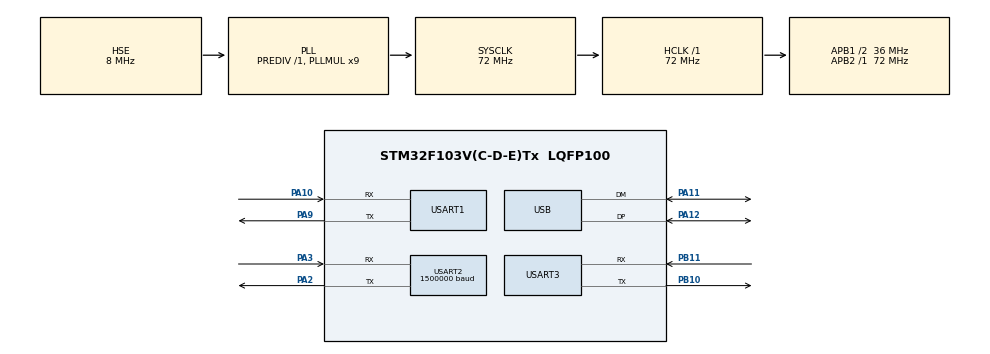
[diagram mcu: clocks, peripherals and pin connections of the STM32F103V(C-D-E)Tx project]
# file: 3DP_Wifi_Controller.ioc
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Dma.Request0=USART1_TX
Dma.Request1=USART1_RX
Dma.Request2=USART2_RX
Dma.USART1_RX.1.Direction=DMA_PERIPH_TO_MEMORY
Dma.USART1_RX.1.Instance=DMA1_Channel5
Dma.USART1_RX.1.MemDataAlignment=DMA_MDATAALIGN_BYTE
Dma.USART1_RX.1.MemInc=DMA_MINC_ENABLE
Dma.USART1_RX.1.Mode=DMA_NORMAL
Dma.USART1_RX.1.PeriphDataAlignment=DMA_PDATAALIGN_BYTE
Dma.USART1_RX.1.PeriphInc=DMA_PINC_DISABLE
Dma.USART1_RX.1.Priority=DMA_PRIORITY_HIGH
Dma.USART1_TX.0.Direction=DMA_MEMORY_TO_PERIPH
Dma.USART1_TX.0.Instance=DMA1_Channel4
Dma.USART1_TX.0.MemDataAlignment=DMA_MDATAALIGN_BYTE
Dma.USART1_TX.0.MemInc=DMA_MINC_ENABLE
Dma.USART1_TX.0.Mode=DMA_NORMAL
Dma.USART1_TX.0.PeriphDataAlignment=DMA_PDATAALIGN_BYTE
Dma.USART1_TX.0.PeriphInc=DMA_PINC_DISABLE
Dma.USART1_TX.0.Priority=DMA_PRIORITY_MEDIUM
Dma.USART2_RX.2.Direction=DMA_PERIPH_TO_MEMORY
Dma.USART2_RX.2.Instance=DMA1_Channel6
Dma.USART2_RX.2.MemDataAlignment=DMA_MDATAALIGN_BYTE
Dma.USART2_RX.2.MemInc=DMA_MINC_ENABLE
Dma.USART2_RX.2.Mode=DMA_NORMAL
Dma.USART2_RX.2.PeriphDataAlignment=DMA_PDATAALIGN_BYTE
Dma.USART2_RX.2.PeriphInc=DMA_PINC_DISABLE
Dma.USART2_RX.2.Priority=DMA_PRIORITY_HIGH
FREERTOS.Tasks01=defaultTask,24,128,StartDefaultTask,Default,NULL,Dynamic,NULL,NULL
FREERTOS.configENABLE_FPU=1
Mcu.Family=STM32F1
Mcu.Name=STM32F103V(C-D-E)Tx
Mcu.Package=LQFP100
NVIC.DMA1_Channel4_IRQn=true\:5\:0\:false\:false\:true\:true\:false\:true\:true
NVIC.DMA1_Channel5_IRQn=true\:5\:0\:false\:false\:true\:true\:false\:true\:true
NVIC.DMA1_Channel6_IRQn=true\:5\:0\:false\:false\:true\:true\:false\:true\:true
NVIC.PriorityGroup=NVIC_PRIORITYGROUP_4
NVIC.USART1_IRQn=true\:5\:0\:false\:false\:true\:true\:false\:true\:true
NVIC.USART2_IRQn=true\:5\:0\:false\:false\:true\:true\:true\:true\:true
OSC_IN.Mode=HSE-External-Oscillator
OSC_IN.Signal=RCC_OSC_IN
OSC_OUT.Mode=HSE-External-Oscillator
OSC_OUT.Signal=RCC_OSC_OUT
PA10.Mode=Asynchronous
PA10.Signal=USART1_RX
PA11.Mode=Device
PA11.Signal=USB_DM
PA12.Mode=Device
PA12.Signal=USB_DP
PA13.Mode=Serial_Wire
PA13.Signal=SYS_JTMS-SWDIO
PA14.Mode=Serial_Wire
PA14.Signal=SYS_JTCK-SWCLK
PA2.Mode=Asynchronous
PA2.Signal=USART2_TX
PA3.Mode=Asynchronous
PA3.Signal=USART2_RX
PA9.Mode=Asynchronous
PA9.Signal=USART1_TX
PB10.Mode=Asynchronous
PB10.Signal=USART3_TX
PB11.Mode=Asynchronous
PB11.Signal=USART3_RX
ProjectManager.HeapSize=0x200
ProjectManager.StackSize=0x400
ProjectManager.TargetToolchain=CMake
RCC.AHBFreq_Value=72000000
RCC.APB1CLKDivider=RCC_HCLK_DIV2
RCC.APB1Freq_Value=36000000
RCC.APB1TimFreq_Value=72000000
RCC.APB2Freq_Value=72000000
RCC.APB2TimFreq_Value=72000000
RCC.HCLKFreq_Value=72000000
RCC.PLLMUL=RCC_PLL_MUL9
RCC.PLLSourceVirtual=RCC_PLLSOURCE_HSE
RCC.SYSCLKFreq_VALUE=72000000
RCC.SYSCLKSource=RCC_SYSCLKSOURCE_PLLCLK
RCC.USBFreq_Value=48000000
RCC.USBPrescaler=RCC_USBCLKSOURCE_PLL_DIV1_5
USART1.VirtualMode=VM_ASYNC
USART2.BaudRate=1500000
USART2.VirtualMode=VM_ASYNC
USART3.VirtualMode=VM_ASYNC
VP_FREERTOS_VS_CMSIS_V2.Mode=CMSIS_V2
board=custom

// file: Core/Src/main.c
/* USER CODE BEGIN Header */
/**
 ******************************************************************************
 * @file           : main.c
 * @brief          : Main program body
 ******************************************************************************
 * @attention
 *
 * Copyright (c) 2025 STMicroelectronics.
 * All rights reserved.
 *
 * This software is licensed under terms that can be found in the LICENSE file
 * in the root directory of this software component.
 * If no LICENSE file comes with this software, it is provided AS-IS.
 *
 ******************************************************************************
 */
/* USER CODE END Header */

/*******   HAL LIB   *******/
#include "main.h"
#include "cmsis_os.h"
#include "dma.h"
#include "usart.h"
#include "usb.h"
#include "gpio.h"
#include "stm32f1xx_ll_fsmc.h"

/*******   C LIB   *******/
#include <stdio.h>
#include <string.h>

/*******   Fire Bsp LIB   *******/
#include "bsp_led.h"
#include "bsp_sdio_sdcard.h"

/*******   SDIO LIB   *******/
#include "ff.h"
#include "ff_gen_drv.h"
#include "sd_diskio.h"
#include "sdio_test.h"

/*******   Custumize LIB   *******/
#include "bsp_ili9341_lcd.h"
#include "bsp_xpt2046_lcd.h"
#include "cmdHandler.h"
#include "Fatfs_SDIO_Test.h"
#include "GUI.h"
#include "LCD.h"
#include "Touch_Calibration.h"

void LCD_TestInit(void) {

	// 简单测试LCD是否正常工作
	ILI9341_Write_Cmd(0x2C);  // 写入GRAM命令
	for(int i=0; i<100; i++) {  // 只写部分像素测试
		ILI9341_Write_Data(0xF800);  // 红色像素
	}

}

void SystemClock_Config(void);

void MX_FREERTOS_Init(void);

/**
  * @brief  主程式進入點
  * @retval int
  */
int main(void) {

	/*------------BSP HAL INIT------------*/
	HAL_Init();
	SystemClock_Config();
	MX_GPIO_Init();
	MX_DMA_Init();
	MX_USART1_UART_Init();
	MX_USART2_UART_Init();
	MX_USART3_UART_Init();
	MX_USB_PCD_Init();
	__HAL_RCC_CRC_CLK_ENABLE();

	/*------------CUSTOMIZE FUNC INIT------------*/
	LED_GPIO_Config();
	XPT2046_Init();
	// ESP32_Init();
	SDIO_FatFs_RW_Test();
	GUI_Init();
	// TOUCH_First_Calibrate();

	osKernelInitialize();
	MX_FREERTOS_Init();
	osKernelStart();

	while (1) {
	}
}

/**
  * @brief 系統時鐘設定
  * @retval 無
  */
void SystemClock_Config(void) {
	RCC_OscInitTypeDef RCC_OscInitStruct = {0};
	RCC_ClkInitTypeDef RCC_ClkInitStruct = {0};
	RCC_PeriphCLKInitTypeDef PeriphClkInit = {0};

	RCC_OscInitStruct.OscillatorType = RCC_OSCILLATORTYPE_HSE;
	RCC_OscInitStruct.HSEState = RCC_HSE_ON;
	RCC_OscInitStruct.HSEPredivValue = RCC_HSE_PREDIV_DIV1;
	RCC_OscInitStruct.HSIState = RCC_HSI_ON;
	RCC_OscInitStruct.PLL.PLLState = RCC_PLL_ON;
	RCC_OscInitStruct.PLL.PLLSource = RCC_PLLSOURCE_HSE;
	RCC_OscInitStruct.PLL.PLLMUL = RCC_PLL_MUL9;
	if (HAL_RCC_OscConfig(&RCC_OscInitStruct) != HAL_OK) {
		Error_Handler();
	}

	RCC_ClkInitStruct.ClockType = RCC_CLOCKTYPE_HCLK | RCC_CLOCKTYPE_SYSCLK
	                              | RCC_CLOCKTYPE_PCLK1 | RCC_CLOCKTYPE_PCLK2;
	RCC_ClkInitStruct.SYSCLKSource = RCC_SYSCLKSOURCE_PLLCLK;
	RCC_ClkInitStruct.AHBCLKDivider = RCC_SYSCLK_DIV1;
	RCC_ClkInitStruct.APB1CLKDivider = RCC_HCLK_DIV2;
	RCC_ClkInitStruct.APB2CLKDivider = RCC_HCLK_DIV1;

	if (HAL_RCC_ClockConfig(&RCC_ClkInitStruct, FLASH_LATENCY_2) != HAL_OK) {
		Error_Handler();
	}

	PeriphClkInit.PeriphClockSelection = RCC_PERIPHCLK_USB;
	PeriphClkInit.UsbClockSelection = RCC_USBCLKSOURCE_PLL_DIV1_5;
	if (HAL_RCCEx_PeriphCLKConfig(&PeriphClkInit) != HAL_OK) {
		Error_Handler();
	}
}

/**
  * @brief 錯誤處理函式
  * @retval 無
  */
void Error_Handler(void) {
	__disable_irq();
	printf("fault\r\n<UNK>\r\n");
	while (1) {
	}
}

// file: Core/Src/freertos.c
/* USER CODE BEGIN Header */
/**
  ******************************************************************************
  * File Name          : freertos.c
  * Description        : Code for freertos applications
  ******************************************************************************
  * @attention
  *
  * Copyright (c) 2025 STMicroelectronics.
  * All rights reserved.
  *
  * This software is licensed under terms that can be found in the LICENSE file
  * in the root directory of this software component.
  * If no LICENSE file comes with this software, it is provided AS-IS.
  *
  ******************************************************************************
  */
/* USER CODE END Header */

#include "FreeRTOS.h"
#include "task.h"
#include "main.h"
#include "cmsis_os.h"

/* USER CODE BEGIN Includes */
#include "ledTask.h"
#include "esp32.h"
#include "UITask.h"
/* USER CODE END Includes */

/* USER CODE BEGIN Variables */

//UI主線程
osThreadId_t UITaskHandle;
const osThreadAttr_t UI_Task_attributes = {
	.name = "UI_Task",
	.stack_size = 128* 16,
	.priority = (osPriority)osPriorityNormal7,
};

//觸控檢測線程
osThreadId_t TouchTaskHandle;
const osThreadAttr_t Touch_Task_attributes = {
	.name = "Touch_Task",
	.stack_size = 128* 8,
	.priority = (osPriority)osPriorityNormal7,
};

//esp32 uart解析線程
osThreadId_t esp32RxHandlerTaskHandle;
const osThreadAttr_t esp32RxHandlerTask_attributes = {
	.name = "esp32RxHandlerTask",
	.stack_size = 128 * 4,
	.priority = (osPriority) osPriorityHigh,
};

//調試用
osThreadId_t ledTaskHandle;
const osThreadAttr_t ledTask_attributes = {
	.name = "ledTask",
	.stack_size = 128 * 2,
	.priority = (osPriority_t) osPriorityNormal,
};
/* USER CODE END Variables */
/* Definitions for defaultTask */
osThreadId_t defaultTaskHandle;
const osThreadAttr_t defaultTask_attributes = {
	.name = "defaultTask",
	.stack_size = 128 * 1,
	.priority = (osPriority_t) osPriorityNormal,
};

void StartDefaultTask(void *argument);

void MX_FREERTOS_Init(void); /* (MISRA C 2004 rule 8.1) */

void MX_FREERTOS_Init(void) {

	/* Create the thread(s) */
	/* creation of defaultTask */
	defaultTaskHandle = osThreadNew(StartDefaultTask, NULL, &defaultTask_attributes);

	/* USER CODE BEGIN RTOS_THREADS */
	UITaskHandle = osThreadNew(GUI_Task, NULL, &UI_Task_attributes);
	TouchTaskHandle = osThreadNew(touchTask, NULL, &Touch_Task_attributes);
	esp32RxHandlerTaskHandle = osThreadNew(ESP32_RxHandler_Task, NULL, &esp32RxHandlerTask_attributes);
	ledTaskHandle = osThreadNew(ledBlinkTask, NULL, &ledTask_attributes);

	//任務建立結果檢查
#ifdef DEBUG
	if (defaultTaskHandle == NULL) {
		printf("defaultTaskHandle created failed!!\r\n");
	}
	if (UITaskHandle == NULL) {
		printf("UITaskHandle created failed!!\r\n");
	}
	if (TouchTaskHandle == NULL) {
		printf("TouchTaskHandle created failed!!\r\n");
	}
	if (esp32RxHandlerTaskHandle == NULL) {
		printf("esp32RxHandlerTaskHandle created failed!!\r\n");
	}
	if (ledTaskHandle == NULL) {
		printf("ledTaskHandle created failed!!\r\n");
	}
#endif
	/* USER CODE END RTOS_THREADS */

}

void StartDefaultTask(void *argument) {
	for (;;) {
		osDelay(1);
	}
}
